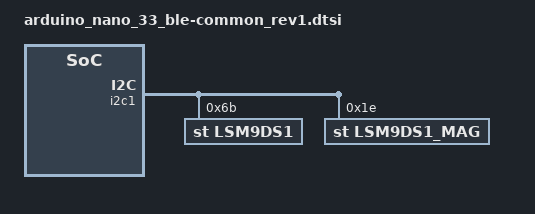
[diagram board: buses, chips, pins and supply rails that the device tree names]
/*
 * Copyright (c) 2026 Loic Domaigne
 *
 * SPDX-License-Identifier: Apache-2.0
 */

/ {
	aliases {
		accel0 = &lsm9ds1;
	};
};

&i2c1 {
	lsm9ds1: lsm9ds1@6b {
		compatible = "st,lsm9ds1";
		reg = <0x6b>;
	};

	lsm9ds1_mag: lsm9ds1_mag@1e {
		compatible = "st,lsm9ds1_mag";
		reg = <0x1e>;
	};
};
